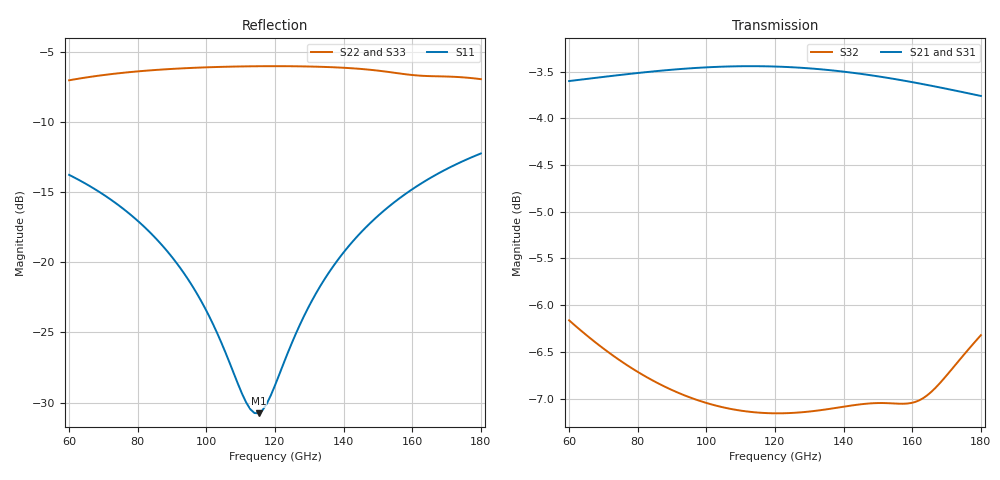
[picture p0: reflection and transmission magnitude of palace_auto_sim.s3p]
#  GHZ S DB R 50
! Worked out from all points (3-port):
!   101 points, 60 GHz to 180 GHz, reference 50 ohm
!   strongest paths, dB at 60 GHz, 90 GHz, 120 GHz, 150 GHz, 180 GHz:
!     S21: -3.6, -3.5, -3.4, -3.6, -3.8
!     S31: -3.6, -3.5, -3.4, -3.6, -3.8
!     S32: -6.2, -6.9, -7.2, -7.0, -6.3
!   lowest |S11| = -30.8 dB at 115.2 GHz (marker M1), VSWR 1.06, Z = 53 - j0.173 ohm
!   |S11| at or under -10 dB: start of sweep to end of sweep
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60  -13.78 127.7  -3.60 -44.8  -3.60 -44.8
    -3.60 -44.8  -7.04 47.5  -6.16 -99.5
    -3.60 -44.8  -6.16 -99.5  -7.04 47.5
90  -19.64 95.5  -3.48 -68.1  -3.48 -68.1
    -3.48 -68.1  -6.23 17.9  -6.91 -141.5
    -3.48 -68.1  -6.91 -141.5  -6.23 17.9
100.8  -23.84 76.1  -3.45 -76.7  -3.45 -76.7
       -3.45 -76.7  -6.11 9.0  -7.05 -156.1
       -3.45 -76.7  -7.05 -156.1  -6.11 9.0
111.6  -29.99 28.0  -3.44 -85.3  -3.44 -85.3
       -3.44 -85.3  -6.05 0.6  -7.14 -170.7
       -3.44 -85.3  -7.14 -170.7  -6.05 0.5
115.2  -30.76 -3.2  -3.44 -88.2  -3.44 -88.2
       -3.44 -88.2  -6.04 -2.2  -7.15 -175.6
       -3.44 -88.2  -7.15 -175.6  -6.04 -2.2
120  -28.77 -40.6  -3.45 -92.0  -3.45 -92.1
     -3.45 -92.0  -6.04 -5.9  -7.16 177.9
     -3.45 -92.1  -7.16 177.9  -6.04 -5.9
130.8  -22.72 -78.7  -3.47 -100.7  -3.47 -100.7
       -3.47 -100.7  -6.07 -14.3  -7.13 163.2
       -3.47 -100.7  -7.13 163.2  -6.06 -14.3
142.8  -18.48 -97.8  -3.51 -110.3  -3.52 -110.3
       -3.51 -110.3  -6.19 -23.9  -7.07 146.6
       -3.52 -110.3  -7.07 146.6  -6.19 -24.0
159.6  -14.87 -116.2  -3.61 -123.6  -3.61 -123.6
       -3.61 -123.6  -6.66 -37.4  -7.05 123.7
       -3.61 -123.6  -7.05 123.7  -6.65 -37.4
180  -12.25 -134.9  -3.76 -139.4  -3.77 -139.4
     -3.76 -139.4  -6.96 -56.7  -6.32 96.3
     -3.77 -139.4  -6.32 96.3  -6.95 -56.7
